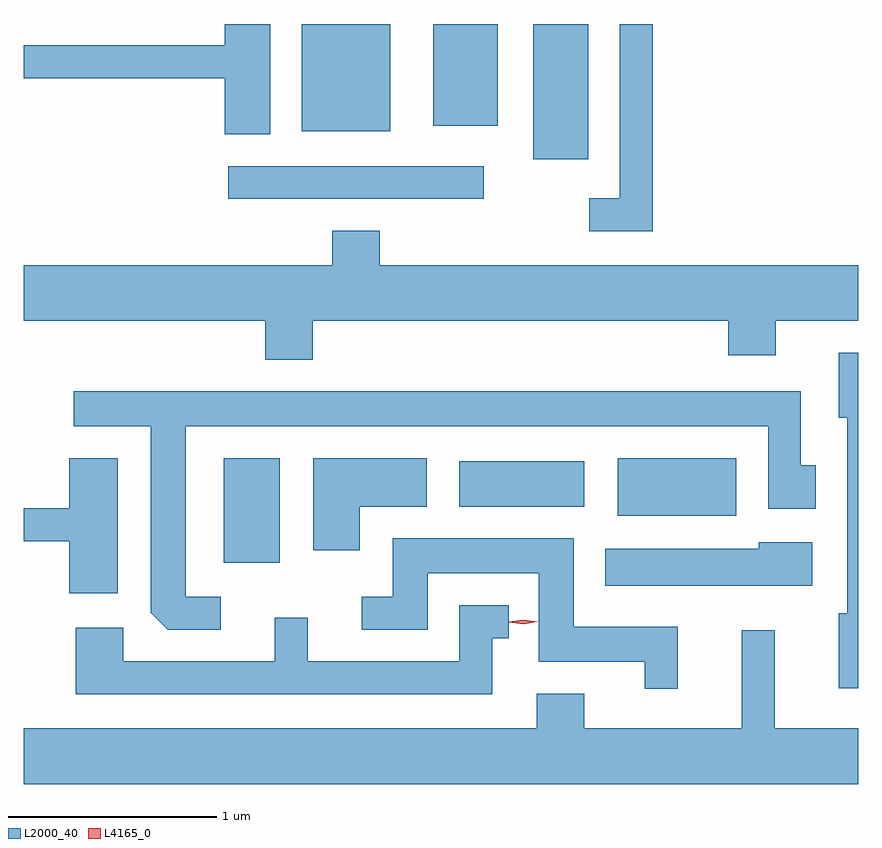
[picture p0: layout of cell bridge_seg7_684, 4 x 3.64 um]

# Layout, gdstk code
import gdstk
lib = gdstk.Library(unit=1e-6, precision=1e-09)
def R(c, l, rs):  # rectangles x0, y0, x1, y1
    for r in rs: c.add(gdstk.rectangle(r[:2], r[2:], *l))
def P(c, l, *ps):  # polygons
    for p in ps: c.add(gdstk.Polygon(p, *l))
L2000_40 = (2000, 40)
L4165_0 = (4165, 0)

bridge_seg7_684 = lib.new_cell('bridge_seg7_684')
R(bridge_seg7_684, L2000_40, [(927.911,1715.376,928.179,1715.879), (929.801,1715.601,930.369,1715.879), (929.041,1715.646,929.639,1715.864), (927.933,1717.121,929.158,1717.279), (929.396,1717.311,929.659,1717.96), (928.286,1717.446,928.709,1717.96), (928.916,1717.471,929.224,1717.96)])
P(bridge_seg7_684, L2000_40, [(928.134,1717.96),(927.916,1717.96),(927.916,1717.859),(926.953,1717.859),(926.953,1717.701),(927.916,1717.701),(927.916,1717.431),(928.134,1717.431)],
  [(929.969,1717.96),(929.811,1717.96),(929.811,1717.124),(929.663,1717.124),(929.663,1716.966),(929.969,1716.966)],
  [(928.339,1716.536),(930.331,1716.536),(930.331,1716.371),(930.559,1716.371),(930.559,1716.536),(930.953,1716.536),(930.953,1716.804),(928.659,1716.804),(928.659,1716.969),(928.431,1716.969),(928.431,1716.804),(926.953,1716.804),(926.953,1716.536),(928.111,1716.536),(928.111,1716.351),(928.339,1716.351)],
  [(930.953,1716.384),(930.861,1716.384),(930.861,1716.071),(930.901,1716.071),(930.901,1715.134),(930.861,1715.134),(930.861,1714.776),(930.953,1714.776)],
  [(927.898,1715.214),(927.729,1715.214),(927.729,1716.031),(930.521,1716.031),(930.521,1715.636),(930.749,1715.636),(930.749,1715.844),(930.679,1715.844),(930.679,1716.199),(927.193,1716.199),(927.193,1716.031),(927.561,1716.031),(927.561,1715.137),(927.642,1715.056),(927.898,1715.056)],
  [(928.564,1715.646),(928.884,1715.646),(928.884,1715.879),(928.341,1715.879),(928.341,1715.436),(928.564,1715.436)],
  [(927.404,1715.879),(927.171,1715.879),(927.171,1715.639),(926.953,1715.639),(926.953,1715.481),(927.171,1715.481),(927.171,1715.231),(927.404,1715.231)],
  [(930.089,1715.069),(929.589,1715.069),(929.589,1715.494),(928.721,1715.494),(928.721,1715.214),(928.573,1715.214),(928.573,1715.056),(928.889,1715.056),(928.889,1715.326),(929.421,1715.326),(929.421,1714.901),(929.931,1714.901),(929.931,1714.773),(930.089,1714.773)],
  [(930.734,1715.474),(930.476,1715.474),(930.476,1715.444),(929.741,1715.444),(929.741,1715.266),(930.734,1715.266)],
  [(929.199,1715.016),(929.278,1715.016),(929.278,1715.174),(929.041,1715.174),(929.041,1714.904),(928.314,1714.904),(928.314,1715.113),(928.156,1715.113),(928.156,1714.904),(927.429,1714.904),(927.429,1715.064),(927.201,1715.064),(927.201,1714.746),(929.199,1714.746)],
  [(930.953,1714.584),(930.554,1714.584),(930.554,1715.053),(930.396,1715.053),(930.396,1714.584),(929.639,1714.584),(929.639,1714.749),(929.411,1714.749),(929.411,1714.584),(926.953,1714.584),(926.953,1714.316),(930.953,1714.316)])
P(bridge_seg7_684, L4165_0, [(929.348,1715.083),(929.279,1715.092),(929.279,1715.093),(929.279,1715.093),(929.348,1715.103),(929.418,1715.094),(929.418,1715.093),(929.418,1715.093)])

lib.write_gds('bridge_seg7_684.gds')
